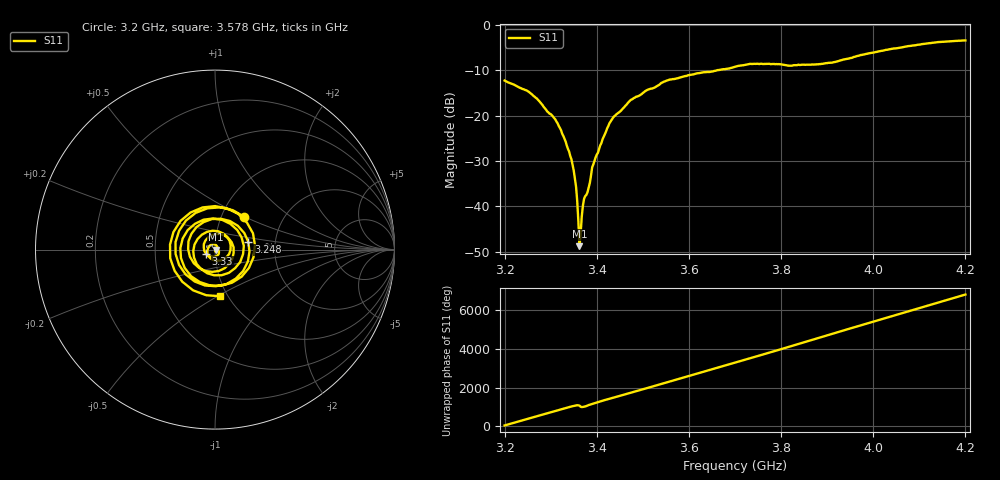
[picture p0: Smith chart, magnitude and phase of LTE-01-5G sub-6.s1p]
! NanoVNA-App
! Date: 2026-05-22 19:08:58
! Start: 3.2GHz Stop: 4.2GHz Points: 401
! S-Parameter data: F S11
# Hz S RI R 50
!  Frequency  S11_Real  S11_Imag
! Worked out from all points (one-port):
!   401 points, 3.2 GHz to 4.2 GHz, reference 50 ohm
!   lowest |S11| = -48.8 dB at 3.362 GHz (marker M1), VSWR 1.01, Z = 50.4 - j0.0515 ohm
!   |S11| at or under -10 dB: start of sweep to 3.66 GHz
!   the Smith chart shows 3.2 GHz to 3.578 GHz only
!   S11 on the Smith chart (normalised r, x): 3.2 GHz: 1.28, +0.50; 3.248 GHz: 1.45, +0.13; 3.33 GHz: 0.90, -0.04; 3.578 GHz: 0.92, -0.52
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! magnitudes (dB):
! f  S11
! 3.2 GHz  -12.2
! 3.248 GHz  -14.4
! 3.305 GHz  -20.2
! 3.325 GHz  -24.0
! 3.33 GHz  -25.1
! 3.342 GHz  -28.9
! 3.35 GHz  -32.1
! 3.355 GHz  -35.6
! 3.36 GHz  -43.2
! 3.362 GHz  -48.8
! 3.365 GHz  -46.0
! 3.368 GHz  -42.2
! 3.373 GHz  -38.3
! 3.382 GHz  -35.8
! 3.395 GHz  -29.9
! 3.428 GHz  -21.7
! 3.45 GHz  -19.1
! 3.475 GHz  -16.4
! 3.507 GHz  -14.4
! 3.575 GHz  -11.7
! 3.578 GHz  -11.7
! 3.7 GHz  -9.2
! 3.737 GHz  -8.6
! 3.825 GHz  -8.9
! 3.89 GHz  -8.5
! 3.95 GHz  -7.3
! 4.075 GHz  -4.6
! 4.2 GHz  -3.4
